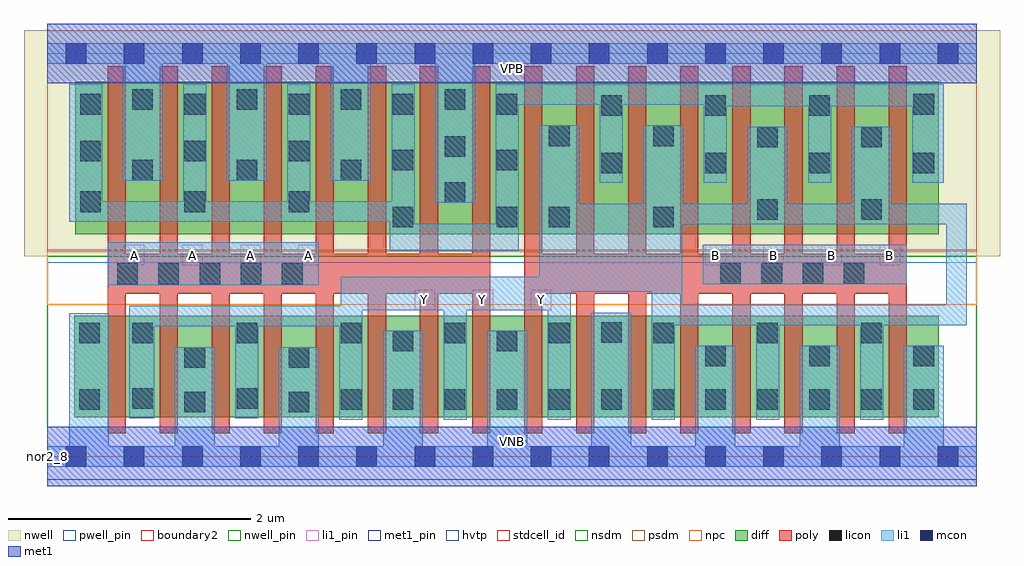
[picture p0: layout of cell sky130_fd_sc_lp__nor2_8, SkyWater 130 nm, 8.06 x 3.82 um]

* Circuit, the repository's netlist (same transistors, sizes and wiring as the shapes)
* Copyright 2020 The SkyWater PDK Authors
*
* Licensed under the Apache License, Version 2.0 (the "License");
* you may not use this file except in compliance with the License.
* You may obtain a copy of the License at
*
*     https://www.apache.org/licenses/LICENSE-2.0
*
* Unless required by applicable law or agreed to in writing, software
* distributed under the License is distributed on an "AS IS" BASIS,
* WITHOUT WARRANTIES OR CONDITIONS OF ANY KIND, either express or implied.
* See the License for the specific language governing permissions and
* limitations under the License.
*
* SPDX-License-Identifier: Apache-2.0

.SUBCKT sky130_fd_sc_lp__nor2_8 A B VGND VNB VPB VPWR Y
*.PININFO A:I B:I VGND:I VNB:I VPB:I VPWR:I Y:O
MMP0 VPWR A sndPA VPB sky130_fd_pr__pfet_01v8_hvt m=8 w=1.26U l=0.15U mult=1 sa=0.265
+ sb=0.265 sd=0.28 area=0.063 perim=1.14
MMP1 sndPA B Y VPB sky130_fd_pr__pfet_01v8_hvt m=8 w=1.26U l=0.15U mult=1 sa=0.265
+ sb=0.265 sd=0.28 area=0.063 perim=1.14
MMN0 Y A VGND VNB sky130_fd_pr__nfet_01v8 m=8 w=0.84U l=0.15U mult=1 sa=0.265 sb=0.265
+ sd=0.28 area=0.063 perim=1.14
MMN1 Y B VGND VNB sky130_fd_pr__nfet_01v8 m=8 w=0.84U l=0.15U mult=1 sa=0.265 sb=0.265
+ sd=0.28 area=0.063 perim=1.14
.ENDS sky130_fd_sc_lp__nor2_8

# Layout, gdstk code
import gdstk
lib = gdstk.Library(unit=1e-6, precision=1e-09)
def R(c, l, rs):  # rectangles x0, y0, x1, y1
    for r in rs: c.add(gdstk.rectangle(r[:2], r[2:], *l))
def A(c, l, x, y, w, h, nx, ny, dx, dy):  # array of equal rectangles
    R(c, l, [(x+i*dx, y+j*dy, x+i*dx+w, y+j*dy+h) for i in range(nx) for j in range(ny)])
def P(c, l, *ps):  # polygons
    for p in ps: c.add(gdstk.Polygon(p, *l))
nwell_pin = (64, 16)
nwell = (64, 20)
diff = (65, 20)
poly = (66, 20)
licon = (66, 44)
li1_pin = (67, 16)
li1 = (67, 20)
mcon = (67, 44)
met1_pin = (68, 16)
met1 = (68, 20)
hvtp = (78, 44)
stdcell_id = (81, 4)
nsdm = (93, 44)
psdm = (94, 20)
npc = (95, 20)
pwell_pin = (122, 16)
boundary2 = (236, 0)

sky130_fd_sc_lp__nor2_8 = lib.new_cell('sky130_fd_sc_lp__nor2_8')
R(sky130_fd_sc_lp__nor2_8, nwell_pin, [(0,3.085,7.68,3.33)])
R(sky130_fd_sc_lp__nor2_8, nwell, [(-0.19,1.655,7.87,3.52)])
R(sky130_fd_sc_lp__nor2_8, diff, [(0.225,0.325,7.365,1.165), (0.235,1.835,7.365,3.095)])
P(sky130_fd_sc_lp__nor2_8, poly, [(3.66,3.225),(3.51,3.225),(3.51,1.675),(3.23,1.675),(3.23,3.225),(3.08,3.225),(3.08,1.675),(2.8,1.675),(2.8,3.225),(2.65,3.225),(2.65,1.675),(2.37,1.675),(2.37,3.225),(2.22,3.225),(2.22,1.675),(1.94,1.675),(1.94,3.225),(1.79,3.225),(1.79,1.675),(1.51,1.675),(1.51,3.225),(1.36,3.225),(1.36,1.675),(1.08,1.675),(1.08,3.225),(0.93,3.225),(0.93,1.675),(0.65,1.675),(0.65,3.225),(0.5,3.225),(0.5,0.195),(0.65,0.195),(0.65,1.345),(0.93,1.345),(0.93,0.195),(1.08,0.195),(1.08,1.345),(1.36,1.345),(1.36,0.195),(1.51,0.195),(1.51,1.345),(1.79,1.345),(1.79,0.195),(1.94,0.195),(1.94,1.345),(2.22,1.345),(2.22,0.195),(2.37,0.195),(2.37,1.345),(2.65,1.345),(2.65,0.195),(2.8,0.195),(2.8,1.345),(3.08,1.345),(3.08,0.195),(3.23,0.195),(3.23,1.345),(3.51,1.345),(3.51,0.195),(3.66,0.195)],
  [(7.1,3.225),(6.95,3.225),(6.95,1.675),(6.67,1.675),(6.67,3.225),(6.52,3.225),(6.52,1.675),(6.24,1.675),(6.24,3.225),(6.09,3.225),(6.09,1.675),(5.81,1.675),(5.81,3.225),(5.66,3.225),(5.66,1.675),(5.38,1.675),(5.38,3.225),(5.23,3.225),(5.23,1.675),(4.95,1.675),(4.95,3.225),(4.8,3.225),(4.8,1.675),(4.52,1.675),(4.52,3.225),(4.37,3.225),(4.37,1.675),(4.09,1.675),(4.09,3.225),(3.94,3.225),(3.94,0.195),(4.09,0.195),(4.09,1.345),(4.37,1.345),(4.37,0.195),(4.52,0.195),(4.52,1.345),(4.8,1.345),(4.8,0.195),(4.95,0.195),(4.95,1.345),(5.23,1.345),(5.23,0.195),(5.38,0.195),(5.38,1.345),(5.66,1.345),(5.66,0.195),(5.81,0.195),(5.81,1.345),(6.09,1.345),(6.09,0.195),(6.24,0.195),(6.24,1.345),(6.52,1.345),(6.52,0.195),(6.67,0.195),(6.67,1.345),(6.95,1.345),(6.95,0.195),(7.1,0.195)])
A(sky130_fd_sc_lp__nor2_8, licon, 2.425, 0.385, 0.17, 0.17, 12, 1, 0.43, 0)
A(sky130_fd_sc_lp__nor2_8, licon, 5.435, 0.745, 0.17, 0.17, 3, 1, 0.86, 0)
A(sky130_fd_sc_lp__nor2_8, licon, 0.705, 0.935, 0.17, 0.17, 8, 1, 0.86, 0)
A(sky130_fd_sc_lp__nor2_8, licon, 0.58, 1.425, 0.17, 0.17, 5, 1, 0.34, 0)
A(sky130_fd_sc_lp__nor2_8, licon, 5.56, 1.425, 0.17, 0.17, 4, 1, 0.34, 0)
A(sky130_fd_sc_lp__nor2_8, licon, 0.275, 2.02, 0.17, 0.17, 3, 2, 0.86, 0.42)
A(sky130_fd_sc_lp__nor2_8, licon, 0.705, 2.28, 0.17, 0.17, 3, 1, 0.86, 0)
A(sky130_fd_sc_lp__nor2_8, licon, 4.575, 2.34, 0.17, 0.17, 4, 1, 0.86, 0)
A(sky130_fd_sc_lp__nor2_8, licon, 4.575, 2.815, 0.17, 0.17, 3, 1, 0.86, 0)
A(sky130_fd_sc_lp__nor2_8, licon, 0.275, 2.825, 0.17, 0.17, 5, 1, 0.86, 0)
A(sky130_fd_sc_lp__nor2_8, licon, 0.705, 2.865, 0.17, 0.17, 4, 1, 0.86, 0)
R(sky130_fd_sc_lp__nor2_8, licon, [(1.135,0.365,1.305,0.535), (1.995,0.365,2.165,0.535), (0.265,0.385,0.435,0.555), (0.705,0.395,0.875,0.565), (1.565,0.395,1.735,0.565), (1.135,0.735,1.305,0.905), (1.995,0.735,2.165,0.905), (2.855,0.87,3.025,1.04), (3.715,0.87,3.885,1.04), (0.265,0.935,0.435,1.105), (4.575,0.94,4.745,1.11), (2.855,1.895,3.025,2.065), (3.715,1.895,3.885,2.065), (4.145,1.895,4.315,2.065), (5.005,1.895,5.175,2.065), (5.865,1.955,6.035,2.125), (6.725,1.955,6.895,2.125), (3.285,2.095,3.455,2.265), (2.855,2.365,3.025,2.535), (3.715,2.365,3.885,2.535), (3.285,2.475,3.455,2.645), (5.865,2.555,6.035,2.725), (6.725,2.555,6.895,2.725), (4.145,2.565,4.315,2.735), (5.005,2.565,5.175,2.735), (7.155,2.825,7.325,2.995)])
A(sky130_fd_sc_lp__nor2_8, li1_pin, 3.035, 1.21, 0.17, 0.17, 3, 1, 0.48, 0)
A(sky130_fd_sc_lp__nor2_8, li1_pin, 0.635, 1.58, 0.17, 0.17, 4, 1, 0.48, 0)
A(sky130_fd_sc_lp__nor2_8, li1_pin, 5.435, 1.58, 0.17, 0.17, 4, 1, 0.48, 0)
R(sky130_fd_sc_lp__nor2_8, li1, [(0.5,1.415,2.245,1.77), (5.415,1.425,7.1,1.75)])
P(sky130_fd_sc_lp__nor2_8, li1, [(7.405,3.075),(3.705,3.075),(3.705,1.925),(3.035,1.925),(3.035,3.075),(2.845,3.075),(2.845,2.11),(2.175,2.11),(2.175,3.075),(1.985,3.075),(1.985,2.11),(1.315,2.11),(1.315,3.075),(1.125,3.075),(1.125,2.11),(0.455,2.11),(0.455,3.075),(0.185,3.075),(0.185,1.94),(2.83,1.94),(2.83,1.7),(3.895,1.7),(3.895,2.905),(4.565,2.905),(4.565,2.26),(4.755,2.26),(4.755,2.905),(5.425,2.905),(5.425,2.26),(5.615,2.26),(5.615,2.895),(6.285,2.895),(6.285,2.26),(6.475,2.26),(6.475,2.895),(7.145,2.895),(7.145,2.26),(7.405,2.26)],
  [(7.595,2.09),(7.425,2.09),(7.425,1.255),(5.245,1.255),(5.245,1.92),(7.425,1.92),(7.425,2.09),(6.975,2.09),(6.975,2.725),(6.645,2.725),(6.645,2.09),(6.115,2.09),(6.115,2.725),(5.785,2.725),(5.785,2.09),(5.255,2.09),(5.255,2.735),(4.925,2.735),(4.925,2.09),(4.395,2.09),(4.395,2.735),(4.065,2.735),(4.065,1.485),(2.425,1.485),(2.425,1.245),(0.68,1.245),(0.68,0.315),(0.885,0.315),(0.885,1.075),(1.555,1.075),(1.555,0.315),(1.745,0.315),(1.745,1.075),(2.415,1.075),(2.415,0.305),(2.605,0.305),(2.605,1.21),(3.275,1.21),(3.275,0.305),(3.465,0.305),(3.465,1.21),(4.135,1.21),(4.135,0.305),(4.325,0.305),(4.325,1.36),(4.995,1.36),(4.995,0.305),(5.185,0.305),(5.185,1.085),(5.855,1.085),(5.855,0.305),(6.045,0.305),(6.045,1.085),(6.715,1.085),(6.715,0.305),(6.905,0.305),(6.905,1.085),(7.595,1.085)],
  [(7.68,3.415),(0,3.415),(0,3.245),(0.625,3.245),(0.625,2.28),(0.955,2.28),(0.955,3.245),(1.485,3.245),(1.485,2.28),(1.815,2.28),(1.815,3.245),(2.345,3.245),(2.345,2.28),(2.675,2.28),(2.675,3.245),(3.205,3.245),(3.205,2.095),(3.535,2.095),(3.535,3.245),(7.68,3.245)],
  [(7.68,0.085),(7.405,0.085),(7.405,0.915),(7.075,0.915),(7.075,0.085),(6.545,0.085),(6.545,0.915),(6.215,0.915),(6.215,0.085),(5.685,0.085),(5.685,0.915),(5.355,0.915),(5.355,0.085),(4.825,0.085),(4.825,1.19),(4.495,1.19),(4.495,0.085),(3.965,0.085),(3.965,1.04),(3.635,1.04),(3.635,0.085),(3.105,0.085),(3.105,1.04),(2.775,1.04),(2.775,0.085),(2.245,0.085),(2.245,0.905),(1.915,0.905),(1.915,0.085),(1.385,0.085),(1.385,0.905),(1.055,0.905),(1.055,0.085),(0.51,0.085),(0.51,1.185),(0.185,1.185),(0.185,0.085),(0,0.085),(0,-0.085),(7.68,-0.085)])
A(sky130_fd_sc_lp__nor2_8, mcon, 0.155, -0.085, 0.17, 0.17, 16, 2, 0.48, 3.33)
R(sky130_fd_sc_lp__nor2_8, met1_pin, [(0,0,7.68,0.245), (0,3.085,7.68,3.33)])
R(sky130_fd_sc_lp__nor2_8, met1, [(0,-0.245,7.68,0.245), (0,3.085,7.68,3.575)])
R(sky130_fd_sc_lp__nor2_8, hvtp, [(0,1.6,7.68,3.33)])
R(sky130_fd_sc_lp__nor2_8, stdcell_id, [(0,0,7.68,3.33)])
R(sky130_fd_sc_lp__nor2_8, nsdm, [(0,-0.19,7.68,1.655)])
R(sky130_fd_sc_lp__nor2_8, psdm, [(0,1.705,7.68,3.52)])
R(sky130_fd_sc_lp__nor2_8, npc, [(0,1.255,7.68,1.695)])
R(sky130_fd_sc_lp__nor2_8, pwell_pin, [(0,0,7.68,0.245)])
R(sky130_fd_sc_lp__nor2_8, boundary2, [(0,0,7.68,3.33)])
sky130_fd_sc_lp__nor2_8.add(gdstk.Label('VNB', (3.84,0.123), layer=64, texttype=59))
sky130_fd_sc_lp__nor2_8.add(gdstk.Label('VPB', (3.84,3.208), layer=64, texttype=5))
sky130_fd_sc_lp__nor2_8.add(gdstk.Label('nor2_8', (0,0), layer=83, texttype=44))
sky130_fd_sc_lp__nor2_8.add(gdstk.Label('VPWR', (3.84,3.208), layer=68, texttype=5))
sky130_fd_sc_lp__nor2_8.add(gdstk.Label('VGND', (3.84,0.123), layer=68, texttype=5))
sky130_fd_sc_lp__nor2_8.add(gdstk.Label('Y', (3.6,1.295), layer=67, texttype=5))
sky130_fd_sc_lp__nor2_8.add(gdstk.Label('Y', (4.08,1.295), layer=67, texttype=5))
sky130_fd_sc_lp__nor2_8.add(gdstk.Label('A', (0.72,1.665), layer=67, texttype=5))
sky130_fd_sc_lp__nor2_8.add(gdstk.Label('A', (1.2,1.665), layer=67, texttype=5))
sky130_fd_sc_lp__nor2_8.add(gdstk.Label('A', (1.68,1.665), layer=67, texttype=5))
sky130_fd_sc_lp__nor2_8.add(gdstk.Label('B', (5.52,1.665), layer=67, texttype=5))
sky130_fd_sc_lp__nor2_8.add(gdstk.Label('B', (6,1.665), layer=67, texttype=5))
sky130_fd_sc_lp__nor2_8.add(gdstk.Label('B', (6.48,1.665), layer=67, texttype=5))
sky130_fd_sc_lp__nor2_8.add(gdstk.Label('B', (6.96,1.665), layer=67, texttype=5))
sky130_fd_sc_lp__nor2_8.add(gdstk.Label('Y', (3.12,1.295), layer=67, texttype=5))
sky130_fd_sc_lp__nor2_8.add(gdstk.Label('A', (2.16,1.665), layer=67, texttype=5))

lib.write_gds('sky130_fd_sc_lp__nor2_8.gds')
